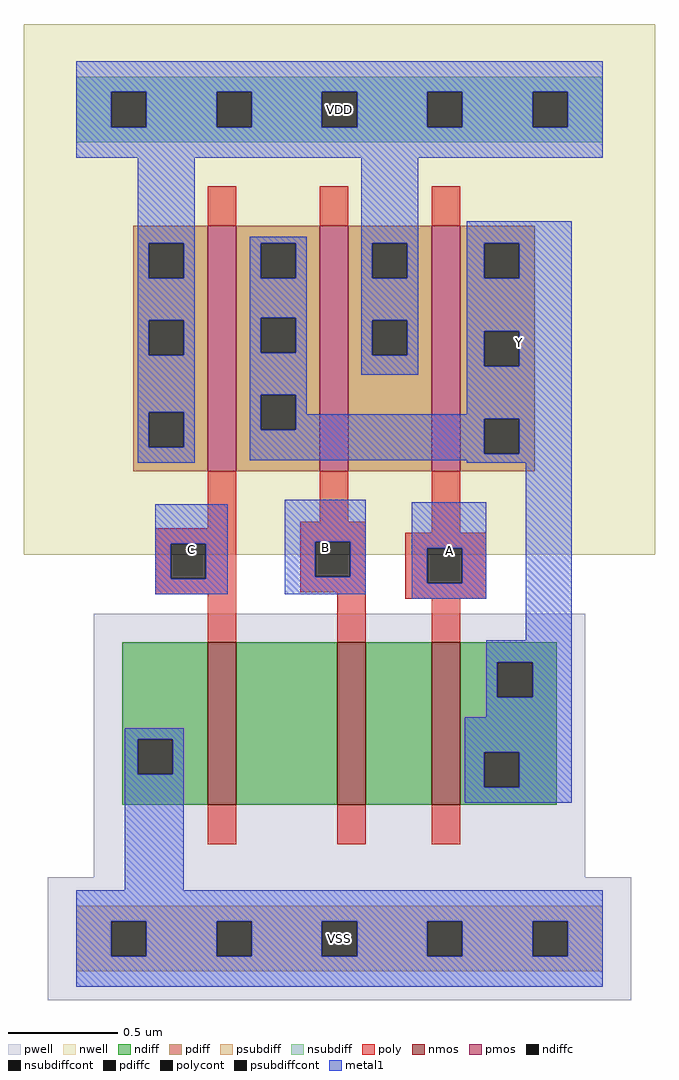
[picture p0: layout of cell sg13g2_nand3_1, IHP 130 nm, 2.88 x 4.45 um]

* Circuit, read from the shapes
.subckt sg13g2_nand3_1 VDD Y B C VSS A
XM1 n1 C VSS VSS sg13_lv_nmos w=0.74u l=0.13u
XM2 n2 B n1 VSS sg13_lv_nmos w=0.74u l=0.13u
XM3 Y A n2 VSS sg13_lv_nmos w=0.74u l=0.13u
XM4 Y C VDD VDD sg13_lv_pmos w=1.12u l=0.13u
XM5 VDD B Y VDD sg13_lv_pmos w=1.12u l=0.13u
XM6 Y A VDD VDD sg13_lv_pmos w=1.12u l=0.13u
.ends

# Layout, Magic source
magic
tech ihp-sg13g2
<< nwell >>
rect -24 175 264 417
<< pwell >>
rect 8 28 232 148
rect -13 -28 253 28
<< nmos >>
rect 60 61 73 135
rect 119 61 132 135
rect 162 61 175 135
<< pmos >>
rect 60 213 73 325
rect 111 213 124 325
rect 162 213 175 325
<< ndiff >>
rect 21 91 60 135
rect 21 75 28 91
rect 44 75 60 91
rect 21 61 60 75
rect 73 61 119 135
rect 132 61 162 135
rect 175 126 219 135
rect 175 110 192 126
rect 208 110 219 126
rect 175 85 219 110
rect 175 69 186 85
rect 202 69 219 85
rect 175 61 219 69
<< pdiff >>
rect 26 317 60 325
rect 26 301 33 317
rect 49 301 60 317
rect 26 282 60 301
rect 26 266 33 282
rect 49 266 60 282
rect 26 240 60 266
rect 26 224 33 240
rect 49 224 60 240
rect 26 213 60 224
rect 73 317 111 325
rect 73 301 84 317
rect 100 301 111 317
rect 73 283 111 301
rect 73 267 84 283
rect 100 267 111 283
rect 73 248 111 267
rect 73 232 84 248
rect 100 232 111 248
rect 73 213 111 232
rect 124 317 162 325
rect 124 301 135 317
rect 151 301 162 317
rect 124 282 162 301
rect 124 266 135 282
rect 151 266 162 282
rect 124 213 162 266
rect 175 317 209 325
rect 175 301 186 317
rect 202 301 209 317
rect 175 277 209 301
rect 175 261 186 277
rect 202 261 209 277
rect 175 237 209 261
rect 175 221 186 237
rect 202 221 209 237
rect 175 213 209 221
<< ndiffc >>
rect 28 75 44 91
rect 192 110 208 126
rect 186 69 202 85
<< pdiffc >>
rect 33 301 49 317
rect 33 266 49 282
rect 33 224 49 240
rect 84 301 100 317
rect 84 267 100 283
rect 84 232 100 248
rect 135 301 151 317
rect 135 266 151 282
rect 186 301 202 317
rect 186 261 202 277
rect 186 221 202 237
<< psubdiff >>
rect 0 8 240 15
rect 0 -8 16 8
rect 32 -8 64 8
rect 80 -8 112 8
rect 128 -8 160 8
rect 176 -8 208 8
rect 224 -8 240 8
rect 0 -15 240 -8
<< nsubdiff >>
rect 0 386 240 393
rect 0 370 16 386
rect 32 370 64 386
rect 80 370 112 386
rect 128 370 160 386
rect 176 370 208 386
rect 224 370 240 386
rect 0 363 240 370
<< psubdiffcont >>
rect 16 -8 32 8
rect 64 -8 80 8
rect 112 -8 128 8
rect 160 -8 176 8
rect 208 -8 224 8
<< nsubdiffcont >>
rect 16 370 32 386
rect 64 370 80 386
rect 112 370 128 386
rect 160 370 176 386
rect 208 370 224 386
<< poly >>
rect 60 325 73 343
rect 111 325 124 343
rect 162 325 175 343
rect 60 187 73 213
rect 111 190 124 213
rect 36 180 73 187
rect 36 164 43 180
rect 59 164 73 180
rect 36 157 73 164
rect 102 181 132 190
rect 162 185 175 213
rect 102 165 109 181
rect 125 165 132 181
rect 102 158 132 165
rect 60 135 73 157
rect 119 135 132 158
rect 150 178 187 185
rect 150 162 160 178
rect 176 162 187 178
rect 150 155 187 162
rect 162 135 175 155
rect 60 43 73 61
rect 119 43 132 61
rect 162 43 175 61
<< polycont >>
rect 43 164 59 180
rect 109 165 125 181
rect 160 162 176 178
<< metal1 >>
rect 0 386 240 400
rect 0 370 16 386
rect 32 370 64 386
rect 80 370 112 386
rect 128 370 160 386
rect 176 370 208 386
rect 224 370 240 386
rect 0 356 240 370
rect 28 317 54 356
rect 28 301 33 317
rect 49 301 54 317
rect 28 282 54 301
rect 28 266 33 282
rect 49 266 54 282
rect 28 240 54 266
rect 28 224 33 240
rect 49 224 54 240
rect 28 217 54 224
rect 79 317 105 320
rect 79 301 84 317
rect 100 301 105 317
rect 79 283 105 301
rect 79 267 84 283
rect 100 267 105 283
rect 79 248 105 267
rect 130 317 156 356
rect 130 301 135 317
rect 151 301 156 317
rect 130 282 156 301
rect 130 266 135 282
rect 151 266 156 282
rect 130 257 156 266
rect 178 317 226 327
rect 178 301 186 317
rect 202 301 226 317
rect 178 277 226 301
rect 178 261 186 277
rect 202 261 226 277
rect 79 232 84 248
rect 100 239 105 248
rect 178 239 226 261
rect 100 237 226 239
rect 100 232 186 237
rect 79 221 186 232
rect 202 221 226 237
rect 79 218 226 221
rect 178 217 226 218
rect 36 180 69 198
rect 36 164 43 180
rect 59 164 69 180
rect 36 157 69 164
rect 95 181 132 200
rect 95 165 109 181
rect 125 165 132 181
rect 95 157 132 165
rect 153 178 187 199
rect 153 162 160 178
rect 176 162 187 178
rect 153 155 187 162
rect 205 136 226 217
rect 187 126 226 136
rect 187 110 192 126
rect 208 110 226 126
rect 187 101 226 110
rect 22 91 49 96
rect 22 75 28 91
rect 44 75 49 91
rect 22 22 49 75
rect 177 85 226 101
rect 177 69 186 85
rect 202 69 226 85
rect 177 62 226 69
rect 0 8 240 22
rect 0 -8 16 8
rect 32 -8 64 8
rect 80 -8 112 8
rect 128 -8 160 8
rect 176 -8 208 8
rect 224 -8 240 8
rect 0 -22 240 -8
<< labels >>
flabel metal1 s 0 356 240 400 0 FreeSans 200 0 0 0 VDD
port 2 nsew
flabel metal1 s 178 217 226 327 0 FreeSans 200 0 0 0 Y
port 3 nsew
flabel metal1 s 95 157 132 200 0 FreeSans 200 0 0 0 B
port 4 nsew
flabel metal1 s 36 157 69 198 0 FreeSans 200 0 0 0 C
port 5 nsew
flabel metal1 s 0 -22 240 22 0 FreeSans 200 0 0 0 VSS
port 6 nsew
flabel metal1 s 153 155 187 199 0 FreeSans 200 0 0 0 A
port 7 nsew
<< properties >>
string FIXED_BBOX 0 0 240 378
string GDS_END 122778
string GDS_FILE ../gds/controller.gds
string GDS_START 118150
<< end >>
